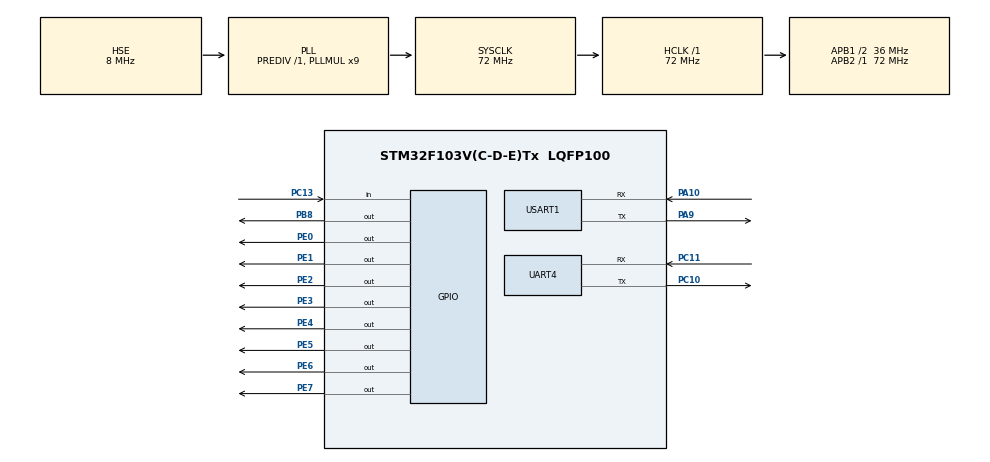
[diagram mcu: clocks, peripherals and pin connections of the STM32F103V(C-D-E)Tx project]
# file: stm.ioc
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Mcu.Family=STM32F1
Mcu.Name=STM32F103V(C-D-E)Tx
Mcu.Package=LQFP100
NVIC.PriorityGroup=NVIC_PRIORITYGROUP_4
NVIC.TIM7_IRQn=true\:0\:0\:false\:false\:true\:true\:true\:true
NVIC.UART4_IRQn=true\:0\:0\:false\:false\:true\:true\:true\:true
NVIC.USART1_IRQn=true\:0\:0\:false\:false\:true\:true\:true\:true
OSC_IN.Mode=HSE-External-Oscillator
OSC_IN.Signal=RCC_OSC_IN
OSC_OUT.Mode=HSE-External-Oscillator
OSC_OUT.Signal=RCC_OSC_OUT
PA10.Mode=Asynchronous
PA10.Signal=USART1_RX
PA13.Mode=Serial_Wire
PA13.Signal=SYS_JTMS-SWDIO
PA14.Mode=Serial_Wire
PA14.Signal=SYS_JTCK-SWCLK
PA9.Mode=Asynchronous
PA9.Signal=USART1_TX
PB8.PinState=GPIO_PIN_SET
PB8.Signal=GPIO_Output
PC10.Mode=Asynchronous
PC10.Signal=UART4_TX
PC11.Mode=Asynchronous
PC11.Signal=UART4_RX
PC13-TAMPER-RTC.GPIO_PuPd=GPIO_PULLUP
PC13-TAMPER-RTC.Signal=GPIO_Input
PC14-OSC32_IN.Mode=LSE-External-Oscillator
PC14-OSC32_IN.Signal=RCC_OSC32_IN
PC15-OSC32_OUT.Mode=LSE-External-Oscillator
PC15-OSC32_OUT.Signal=RCC_OSC32_OUT
PE0.PinState=GPIO_PIN_SET
PE0.Signal=GPIO_Output
PE1.GPIO_PuPd=GPIO_NOPULL
PE1.PinState=GPIO_PIN_SET
PE1.Signal=GPIO_Output
PE2.GPIO_PuPd=GPIO_NOPULL
PE2.PinState=GPIO_PIN_SET
PE2.Signal=GPIO_Output
PE3.GPIO_PuPd=GPIO_NOPULL
PE3.PinState=GPIO_PIN_SET
PE3.Signal=GPIO_Output
PE4.GPIO_PuPd=GPIO_NOPULL
PE4.PinState=GPIO_PIN_SET
PE4.Signal=GPIO_Output
PE5.GPIO_PuPd=GPIO_NOPULL
PE5.PinState=GPIO_PIN_SET
PE5.Signal=GPIO_Output
PE6.GPIO_PuPd=GPIO_NOPULL
PE6.PinState=GPIO_PIN_SET
PE6.Signal=GPIO_Output
PE7.GPIO_PuPd=GPIO_NOPULL
PE7.PinState=GPIO_PIN_SET
PE7.Signal=GPIO_Output
ProjectManager.HeapSize=0x200
ProjectManager.StackSize=0x400
ProjectManager.TargetToolchain=MDK-ARM V5.32
RCC.AHBFreq_Value=72000000
RCC.APB1CLKDivider=RCC_HCLK_DIV2
RCC.APB1Freq_Value=36000000
RCC.APB1TimFreq_Value=72000000
RCC.APB2Freq_Value=72000000
RCC.APB2TimFreq_Value=72000000
RCC.HCLKFreq_Value=72000000
RCC.PLLMUL=RCC_PLL_MUL9
RCC.PLLSourceVirtual=RCC_PLLSOURCE_HSE
RCC.SYSCLKFreq_VALUE=72000000
RCC.SYSCLKSource=RCC_SYSCLKSOURCE_PLLCLK
RCC.USBFreq_Value=72000000
TIM7.AutoReloadPreload=TIM_AUTORELOAD_PRELOAD_ENABLE
TIM7.Period=999
UART4.VirtualMode=Asynchronous
USART1.VirtualMode=VM_ASYNC
VP_TIM7_VS_ClockSourceINT.Mode=Enable_Timer
board=custom

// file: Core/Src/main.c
/* USER CODE BEGIN Header */
/**
  ******************************************************************************
  * @file           : main.c
  * @brief          : Main program body
  ******************************************************************************
  * @attention
  *
  * Copyright (c) 2026 STMicroelectronics.
  * All rights reserved.
  *
  * This software is licensed under terms that can be found in the LICENSE file
  * in the root directory of this software component.
  * If no LICENSE file comes with this software, it is provided AS-IS.
  *
  ******************************************************************************
  */
/* USER CODE END Header */
#include "main.h"
#include "tim.h"
#include "usart.h"
#include "gpio.h"

/* USER CODE BEGIN Includes */
#include "stdio.h"
#include "string.h"
/* USER CODE END Includes */

/* USER CODE BEGIN PTD */
uint8_t buf[32];
uint8_t buf_index;
uint8_t Rxdata;
uint8_t flag=0;
/* USER CODE END PTD */

/* USER CODE BEGIN PV */
void HAL_UART_RxCpltCallback(UART_HandleTypeDef *huart)
{
	if(huart->Instance==UART4)
	{
		buf[buf_index]=Rxdata;
		buf_index++;
		HAL_UART_Receive_IT(&huart4,&Rxdata,1);
		if(Rxdata=='\r')
		{
			flag=1;
		}
	}
}

int fputc(int ch,FILE *p)
{
	HAL_UART_Transmit(&huart1,(const uint8_t*)&ch,1,0xFFFF);
	return ch;
}
/* USER CODE END PV */

void SystemClock_Config(void);

int main(void)
{

  /* MCU Configuration--------------------------------------------------------*/

  /* Reset of all peripherals, Initializes the Flash interface and the Systick. */
  HAL_Init();

  /* Configure the system clock */
  SystemClock_Config();

  /* Initialize all configured peripherals */
  MX_GPIO_Init();
  MX_TIM7_Init();
  MX_UART4_Init();
  MX_USART1_UART_Init();
  /* USER CODE BEGIN 2 */
	HAL_UART_Receive_IT(&huart4,&Rxdata,1);
  /* USER CODE END 2 */

  /* Infinite loop */
  while (1)
  {

    /* USER CODE BEGIN 3 */
	  if(buf_index>0&&flag)
	  {
		printf("%s",buf);
		if(strstr((const char*)buf,"LED1ON")!=NULL)
		{
			HAL_GPIO_WritePin(GPIOE,GPIO_PIN_7,GPIO_PIN_RESET);
		}
		if(strstr((const char*)buf,"LED1OFF")!=NULL)
		{
			HAL_GPIO_WritePin(GPIOE,GPIO_PIN_7,GPIO_PIN_SET);
		}
		if(strstr((const char*)buf,"LED2ON")!=NULL)
		{
			HAL_GPIO_WritePin(GPIOE,GPIO_PIN_6,GPIO_PIN_RESET);
		}
		if(strstr((const char*)buf,"LED2OFF")!=NULL)
		{
			HAL_GPIO_WritePin(GPIOE,GPIO_PIN_6,GPIO_PIN_SET);
		}
		if(strstr((const char*)buf,"LED3ON")!=NULL)
		{
			HAL_GPIO_WritePin(GPIOE,GPIO_PIN_5,GPIO_PIN_RESET);
		}
		if(strstr((const char*)buf,"LED3OFF")!=NULL)
		{
			HAL_GPIO_WritePin(GPIOE,GPIO_PIN_5,GPIO_PIN_SET);
		}
		if(strstr((const char*)buf,"LED4ON")!=NULL)
		{
			HAL_GPIO_WritePin(GPIOE,GPIO_PIN_4,GPIO_PIN_RESET);
		}
		if(strstr((const char*)buf,"LED4OFF")!=NULL)
		{
			HAL_GPIO_WritePin(GPIOE,GPIO_PIN_4,GPIO_PIN_SET);
		}
		if(strstr((const char*)buf,"LED5ON")!=NULL)
		{
			HAL_GPIO_WritePin(GPIOE,GPIO_PIN_3,GPIO_PIN_RESET);
		}
		if(strstr((const char*)buf,"LED5OFF")!=NULL)
		{
			HAL_GPIO_WritePin(GPIOE,GPIO_PIN_3,GPIO_PIN_SET);
		}
		if(strstr((const char*)buf,"LED6ON")!=NULL)
		{
			HAL_GPIO_WritePin(GPIOE,GPIO_PIN_2,GPIO_PIN_RESET);
		}
		if(strstr((const char*)buf,"LED6OFF")!=NULL)
		{
			HAL_GPIO_WritePin(GPIOE,GPIO_PIN_2,GPIO_PIN_SET);
		}
		if(strstr((const char*)buf,"LED7ON")!=NULL)
		{
			HAL_GPIO_WritePin(GPIOE,GPIO_PIN_1,GPIO_PIN_RESET);
		}
		if(strstr((const char*)buf,"LED7OFF")!=NULL)
		{
			HAL_GPIO_WritePin(GPIOE,GPIO_PIN_1,GPIO_PIN_SET);
		}
		if(strstr((const char*)buf,"LED8ON")!=NULL)
		{
			HAL_GPIO_WritePin(GPIOE,GPIO_PIN_0,GPIO_PIN_RESET);
		}
		if(strstr((const char*)buf,"LED8OFF")!=NULL)
		{
			HAL_GPIO_WritePin(GPIOE,GPIO_PIN_0,GPIO_PIN_SET);
		}
		memset(buf,0,buf_index);
		buf_index=0;
		flag=0;
	  }
  }
  /* USER CODE END 3 */
}

void SystemClock_Config(void)
{
  RCC_OscInitTypeDef RCC_OscInitStruct = {0};
  RCC_ClkInitTypeDef RCC_ClkInitStruct = {0};

  /** Initializes the RCC Oscillators according to the specified parameters
  * in the RCC_OscInitTypeDef structure.
  */
  RCC_OscInitStruct.OscillatorType = RCC_OSCILLATORTYPE_HSE;
  RCC_OscInitStruct.HSEState = RCC_HSE_ON;
  RCC_OscInitStruct.HSEPredivValue = RCC_HSE_PREDIV_DIV1;
  RCC_OscInitStruct.HSIState = RCC_HSI_ON;
  RCC_OscInitStruct.PLL.PLLState = RCC_PLL_ON;
  RCC_OscInitStruct.PLL.PLLSource = RCC_PLLSOURCE_HSE;
  RCC_OscInitStruct.PLL.PLLMUL = RCC_PLL_MUL9;
  if (HAL_RCC_OscConfig(&RCC_OscInitStruct) != HAL_OK)
  {
    Error_Handler();
  }

  /** Initializes the CPU, AHB and APB buses clocks
  */
  RCC_ClkInitStruct.ClockType = RCC_CLOCKTYPE_HCLK|RCC_CLOCKTYPE_SYSCLK
                              |RCC_CLOCKTYPE_PCLK1|RCC_CLOCKTYPE_PCLK2;
  RCC_ClkInitStruct.SYSCLKSource = RCC_SYSCLKSOURCE_PLLCLK;
  RCC_ClkInitStruct.AHBCLKDivider = RCC_SYSCLK_DIV1;
  RCC_ClkInitStruct.APB1CLKDivider = RCC_HCLK_DIV2;
  RCC_ClkInitStruct.APB2CLKDivider = RCC_HCLK_DIV1;

  if (HAL_RCC_ClockConfig(&RCC_ClkInitStruct, FLASH_LATENCY_2) != HAL_OK)
  {
    Error_Handler();
  }
}

void Error_Handler(void)
{
  __disable_irq();
  while (1)
  {
  }
}
